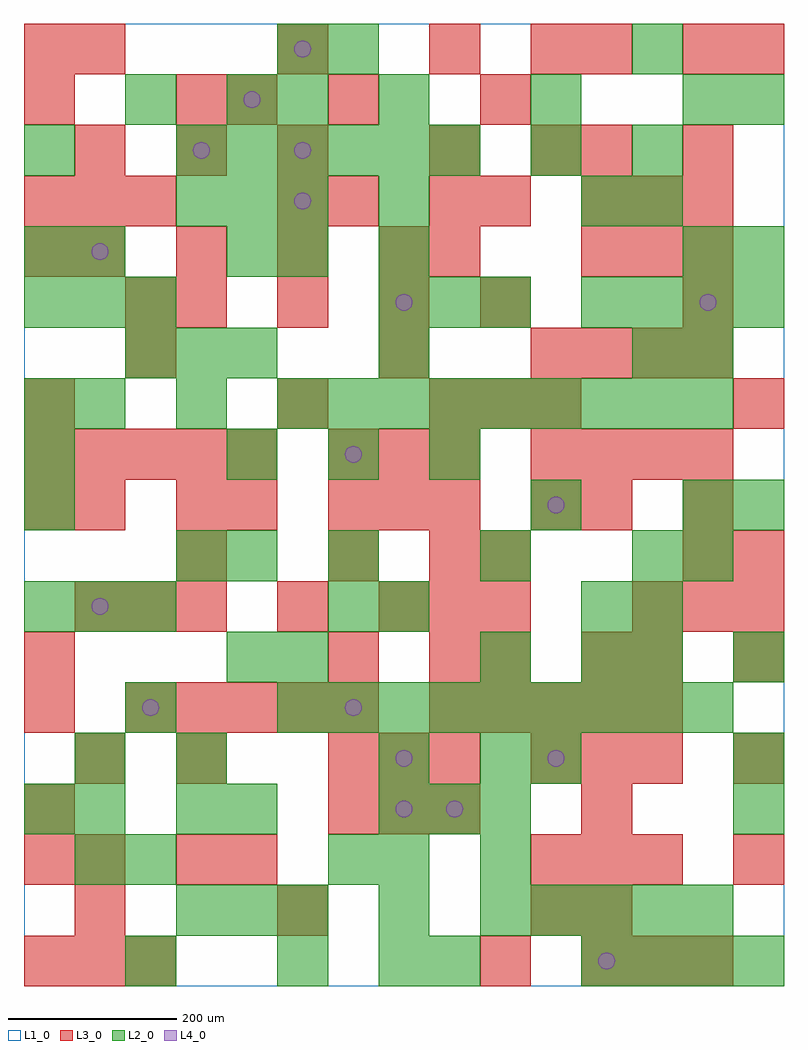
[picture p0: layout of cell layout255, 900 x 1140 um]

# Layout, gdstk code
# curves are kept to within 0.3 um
import gdstk
lib = gdstk.Library(unit=1e-6, precision=1e-09)
def R(c, l, rs):  # rectangles x0, y0, x1, y1
    for r in rs: c.add(gdstk.rectangle(r[:2], r[2:], *l))
def A(c, l, x, y, w, h, nx, ny, dx, dy):  # array of equal rectangles
    R(c, l, [(x+i*dx, y+j*dy, x+i*dx+w, y+j*dy+h) for i in range(nx) for j in range(ny)])
def P(c, l, *ps):  # polygons
    for p in ps: c.add(gdstk.Polygon(p, *l))
L1_0 = (1, 0)
L2_0 = (2, 0)
L3_0 = (3, 0)
L4_0 = (4, 0)

layout255 = lib.new_cell('layout255')
R(layout255, L1_0, [(0,0,900,1140)])
A(layout255, L2_0, 420, 0, 60, 60, 1, 3, 0, 60)
A(layout255, L2_0, 660, 0, 60, 60, 4, 2, 60, 780)
A(layout255, L2_0, 180, 60, 60, 60, 3, 2, 60, 840)
A(layout255, L2_0, 540, 60, 60, 60, 5, 1, 60, 0)
A(layout255, L2_0, 60, 120, 60, 60, 1, 3, 0, 60)
A(layout255, L2_0, 540, 120, 60, 60, 1, 3, 0, 120)
A(layout255, L2_0, 420, 180, 60, 60, 3, 2, 60, 600)
A(layout255, L2_0, 300, 300, 60, 60, 9, 1, 60, 0)
A(layout255, L2_0, 0, 420, 60, 60, 3, 2, 60, 360)
A(layout255, L2_0, 360, 480, 60, 60, 3, 1, 180, 0)
A(layout255, L2_0, 0, 540, 60, 60, 1, 3, 0, 60)
A(layout255, L2_0, 240, 600, 60, 60, 3, 1, 120, 0)
A(layout255, L2_0, 60, 660, 60, 60, 3, 1, 120, 0)
A(layout255, L2_0, 360, 660, 60, 60, 8, 1, 60, 0)
A(layout255, L2_0, 120, 720, 60, 60, 3, 1, 60, 0)
A(layout255, L2_0, 180, 960, 60, 60, 6, 1, 60, 0)
A(layout255, L2_0, 420, 1020, 60, 60, 3, 1, 180, 0)
R(layout255, L2_0, [(120,0,180,60), (300,0,360,60), (480,0,540,60), (120,120,180,180), (360,120,420,180), (0,180,60,240), (180,180,240,240), (240,180,300,240), (840,180,900,240), (180,240,240,300), (420,240,480,300), (600,240,660,300), (840,240,900,300), (120,300,180,360), (240,360,300,420), (300,360,360,420), (660,360,720,420), (720,360,780,420), (840,360,900,420), (360,420,420,480), (420,420,480,480), (660,420,720,480), (720,420,780,480), (180,480,240,540), (240,480,300,540), (780,480,840,540), (600,540,660,600), (780,540,840,600), (840,540,900,600), (420,720,480,780), (720,720,780,780), (780,720,840,780), (0,840,60,900), (60,840,120,900), (240,840,300,900), (300,840,360,900), (420,840,480,900), (780,840,840,900), (840,840,900,900), (420,900,480,960), (660,900,720,960), (720,900,780,960), (0,960,60,1020), (600,960,660,1020), (720,960,780,1020), (120,1020,180,1080), (240,1020,300,1080), (300,1020,360,1080), (840,1020,900,1080), (300,1080,360,1140), (360,1080,420,1140), (720,1080,780,1140)])
A(layout255, L3_0, 0, 0, 60, 60, 3, 2, 60, 900)
A(layout255, L3_0, 660, 0, 60, 60, 3, 2, 60, 840)
A(layout255, L3_0, 600, 120, 60, 60, 3, 2, 60, 120)
A(layout255, L3_0, 840, 120, 60, 60, 1, 4, 0, 120)
A(layout255, L3_0, 360, 180, 60, 60, 3, 2, 60, 60)
A(layout255, L3_0, 660, 180, 60, 60, 1, 3, 0, 180)
A(layout255, L3_0, 120, 300, 60, 60, 5, 1, 60, 0)
A(layout255, L3_0, 480, 300, 60, 60, 5, 1, 60, 0)
A(layout255, L3_0, 60, 420, 60, 60, 3, 1, 60, 0)
A(layout255, L3_0, 300, 420, 60, 60, 1, 3, 0, 240)
A(layout255, L3_0, 420, 420, 60, 60, 3, 1, 60, 0)
A(layout255, L3_0, 720, 420, 60, 60, 3, 1, 60, 0)
A(layout255, L3_0, 360, 540, 60, 60, 3, 2, 60, 60)
A(layout255, L3_0, 0, 600, 60, 60, 5, 1, 60, 0)
A(layout255, L3_0, 600, 600, 60, 60, 4, 2, 60, 120)
A(layout255, L3_0, 0, 660, 60, 60, 1, 3, 0, 180)
A(layout255, L3_0, 480, 660, 60, 60, 3, 1, 60, 0)
A(layout255, L3_0, 180, 780, 60, 60, 4, 1, 120, 0)
A(layout255, L3_0, 60, 840, 60, 60, 4, 1, 120, 0)
A(layout255, L3_0, 480, 840, 60, 60, 1, 3, 0, 60)
A(layout255, L3_0, 660, 900, 60, 60, 3, 1, 60, 0)
A(layout255, L3_0, 60, 960, 60, 60, 3, 1, 120, 0)
R(layout255, L3_0, [(540,0,600,60), (60,60,120,120), (300,60,360,120), (600,60,660,120), (660,60,720,120), (0,120,60,180), (60,120,120,180), (180,120,240,180), (240,120,300,180), (0,180,60,240), (60,240,120,300), (180,240,240,300), (0,300,60,360), (0,360,60,420), (360,360,420,420), (480,360,540,420), (540,360,600,420), (720,360,780,420), (180,480,240,540), (360,480,420,540), (480,480,540,540), (540,480,600,540), (780,480,840,540), (0,540,60,600), (60,540,120,600), (180,540,240,600), (240,540,300,600), (600,540,660,600), (780,540,840,600), (840,660,900,720), (120,720,180,780), (420,720,480,780), (120,780,180,840), (780,780,840,840), (360,900,420,960), (540,900,600,960), (600,960,660,1020), (660,960,720,1020), (780,960,840,1020), (180,1020,240,1080), (240,1020,300,1080), (360,1020,420,1080), (540,1020,600,1080), (0,1080,60,1140), (60,1080,120,1140), (300,1080,360,1140), (480,1080,540,1140), (600,1080,660,1140), (660,1080,720,1140), (780,1080,840,1140), (840,1080,900,1140)])
P(layout255, L4_0, [(100,450),(99.239,453.827),(97.071,457.071),(93.827,459.239),(90,460),(86.173,459.239),(82.929,457.071),(80.761,453.827),(80,450),(80.761,446.173),(82.929,442.929),(86.173,440.761),(90,440),(93.827,440.761),(97.071,442.929),(99.239,446.173)],
  [(100,870),(99.239,873.827),(97.071,877.071),(93.827,879.239),(90,880),(86.173,879.239),(82.929,877.071),(80.761,873.827),(80,870),(80.761,866.173),(82.929,862.929),(86.173,860.761),(90,860),(93.827,860.761),(97.071,862.929),(99.239,866.173)],
  [(160,330),(159.239,333.827),(157.071,337.071),(153.827,339.239),(150,340),(146.173,339.239),(142.929,337.071),(140.761,333.827),(140,330),(140.761,326.173),(142.929,322.929),(146.173,320.761),(150,320),(153.827,320.761),(157.071,322.929),(159.239,326.173)],
  [(220,990),(219.239,993.827),(217.071,997.071),(213.827,999.239),(210,1000),(206.173,999.239),(202.929,997.071),(200.761,993.827),(200,990),(200.761,986.173),(202.929,982.929),(206.173,980.761),(210,980),(213.827,980.761),(217.071,982.929),(219.239,986.173)],
  [(280,1050),(279.239,1053.827),(277.071,1057.071),(273.827,1059.239),(270,1060),(266.173,1059.239),(262.929,1057.071),(260.761,1053.827),(260,1050),(260.761,1046.173),(262.929,1042.929),(266.173,1040.761),(270,1040),(273.827,1040.761),(277.071,1042.929),(279.239,1046.173)],
  [(340,930),(339.239,933.827),(337.071,937.071),(333.827,939.239),(330,940),(326.173,939.239),(322.929,937.071),(320.761,933.827),(320,930),(320.761,926.173),(322.929,922.929),(326.173,920.761),(330,920),(333.827,920.761),(337.071,922.929),(339.239,926.173)],
  [(340,990),(339.239,993.827),(337.071,997.071),(333.827,999.239),(330,1000),(326.173,999.239),(322.929,997.071),(320.761,993.827),(320,990),(320.761,986.173),(322.929,982.929),(326.173,980.761),(330,980),(333.827,980.761),(337.071,982.929),(339.239,986.173)],
  [(340,1110),(339.239,1113.827),(337.071,1117.071),(333.827,1119.239),(330,1120),(326.173,1119.239),(322.929,1117.071),(320.761,1113.827),(320,1110),(320.761,1106.173),(322.929,1102.929),(326.173,1100.761),(330,1100),(333.827,1100.761),(337.071,1102.929),(339.239,1106.173)],
  [(400,330),(399.239,333.827),(397.071,337.071),(393.827,339.239),(390,340),(386.173,339.239),(382.929,337.071),(380.761,333.827),(380,330),(380.761,326.173),(382.929,322.929),(386.173,320.761),(390,320),(393.827,320.761),(397.071,322.929),(399.239,326.173)],
  [(400,630),(399.239,633.827),(397.071,637.071),(393.827,639.239),(390,640),(386.173,639.239),(382.929,637.071),(380.761,633.827),(380,630),(380.761,626.173),(382.929,622.929),(386.173,620.761),(390,620),(393.827,620.761),(397.071,622.929),(399.239,626.173)],
  [(460,210),(459.239,213.827),(457.071,217.071),(453.827,219.239),(450,220),(446.173,219.239),(442.929,217.071),(440.761,213.827),(440,210),(440.761,206.173),(442.929,202.929),(446.173,200.761),(450,200),(453.827,200.761),(457.071,202.929),(459.239,206.173)],
  [(460,270),(459.239,273.827),(457.071,277.071),(453.827,279.239),(450,280),(446.173,279.239),(442.929,277.071),(440.761,273.827),(440,270),(440.761,266.173),(442.929,262.929),(446.173,260.761),(450,260),(453.827,260.761),(457.071,262.929),(459.239,266.173)],
  [(460,810),(459.239,813.827),(457.071,817.071),(453.827,819.239),(450,820),(446.173,819.239),(442.929,817.071),(440.761,813.827),(440,810),(440.761,806.173),(442.929,802.929),(446.173,800.761),(450,800),(453.827,800.761),(457.071,802.929),(459.239,806.173)],
  [(520,210),(519.239,213.827),(517.071,217.071),(513.827,219.239),(510,220),(506.173,219.239),(502.929,217.071),(500.761,213.827),(500,210),(500.761,206.173),(502.929,202.929),(506.173,200.761),(510,200),(513.827,200.761),(517.071,202.929),(519.239,206.173)],
  [(640,270),(639.239,273.827),(637.071,277.071),(633.827,279.239),(630,280),(626.173,279.239),(622.929,277.071),(620.761,273.827),(620,270),(620.761,266.173),(622.929,262.929),(626.173,260.761),(630,260),(633.827,260.761),(637.071,262.929),(639.239,266.173)],
  [(640,570),(639.239,573.827),(637.071,577.071),(633.827,579.239),(630,580),(626.173,579.239),(622.929,577.071),(620.761,573.827),(620,570),(620.761,566.173),(622.929,562.929),(626.173,560.761),(630,560),(633.827,560.761),(637.071,562.929),(639.239,566.173)],
  [(700,30),(699.239,33.827),(697.071,37.071),(693.827,39.239),(690,40),(686.173,39.239),(682.929,37.071),(680.761,33.827),(680,30),(680.761,26.173),(682.929,22.929),(686.173,20.761),(690,20),(693.827,20.761),(697.071,22.929),(699.239,26.173)],
  [(820,810),(819.239,813.827),(817.071,817.071),(813.827,819.239),(810,820),(806.173,819.239),(802.929,817.071),(800.761,813.827),(800,810),(800.761,806.173),(802.929,802.929),(806.173,800.761),(810,800),(813.827,800.761),(817.071,802.929),(819.239,806.173)])

lib.write_gds('layout255.gds')
